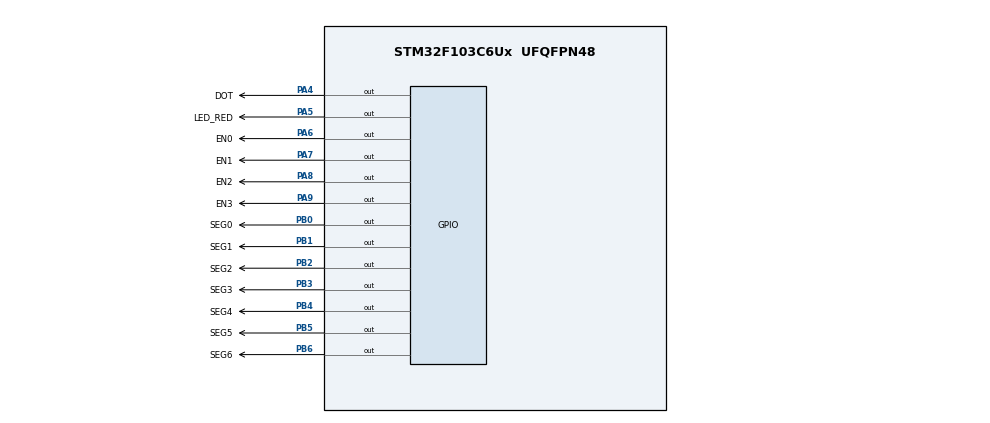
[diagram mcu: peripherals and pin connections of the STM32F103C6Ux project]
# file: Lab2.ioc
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Mcu.Family=STM32F1
Mcu.Name=STM32F103C6Ux
Mcu.Package=UFQFPN48
NVIC.PriorityGroup=NVIC_PRIORITYGROUP_4
NVIC.TIM2_IRQn=true\:0\:0\:false\:false\:true\:true\:true
PA4.GPIO_Label=DOT
PA4.Signal=GPIO_Output
PA5.GPIO_Label=LED_RED
PA5.Signal=GPIO_Output
PA6.GPIO_Label=EN0
PA6.Signal=GPIO_Output
PA7.GPIO_Label=EN1
PA7.Signal=GPIO_Output
PA8.GPIO_Label=EN2
PA8.Signal=GPIO_Output
PA9.GPIO_Label=EN3
PA9.Signal=GPIO_Output
PB0.GPIO_Label=SEG0
PB0.Signal=GPIO_Output
PB1.GPIO_Label=SEG1
PB1.Signal=GPIO_Output
PB2.GPIO_Label=SEG2
PB2.Signal=GPIO_Output
PB3.GPIO_Label=SEG3
PB3.Signal=GPIO_Output
PB4.GPIO_Label=SEG4
PB4.Signal=GPIO_Output
PB5.GPIO_Label=SEG5
PB5.Signal=GPIO_Output
PB6.GPIO_Label=SEG6
PB6.Signal=GPIO_Output
ProjectManager.HeapSize=0x200
ProjectManager.StackSize=0x400
ProjectManager.TargetToolchain=STM32CubeIDE
RCC.APB1Freq_Value=8000000
RCC.APB2Freq_Value=8000000
TIM2.Period=9
TIM2.Prescaler=7999
VP_SYS_VS_ND.Mode=No_Debug
VP_TIM2_VS_ClockSourceINT.Mode=Internal
board=custom

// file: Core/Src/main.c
/* USER CODE BEGIN Header */
/**
 ******************************************************************************
 * @file           : main.c
 * @brief          : Main program body
 ******************************************************************************
 * @attention
 *
 * <h2><center>&copy; Copyright (c) 2025 STMicroelectronics.
 * All rights reserved.</center></h2>
 *
 * This software component is licensed by ST under BSD 3-Clause license,
 * the "License"; You may not use this file except in compliance with the
 * License. You may obtain a copy of the License at:
 *                        opensource.org/licenses/BSD-3-Clause
 *
 ******************************************************************************
 */
/* USER CODE END Header */
#include "main.h"

TIM_HandleTypeDef htim2;

void SystemClock_Config(void);
static void MX_GPIO_Init(void);
static void MX_TIM2_Init(void);
void display7SEG(int num);
void update7SEG(int index);
void updateClockBuffer(void);
/* USER CODE BEGIN PFP */
void display7SEG(int num)
{
    const uint8_t mixi[10] = {0b1000000, 0b1111001, 0b0100100, 0b0110000,
                              0b0011001, 0b0010010, 0b0000010, 0b1111000, 0b0000000, 0b0010000};

    // Ensure num is between 0 and 9
    if (num < 0 || num > 9)
        return;

    // Write each bit of the pattern to the corresponding GPIO pin (PB0 to PB6)
    HAL_GPIO_WritePin(GPIOB, SEG0_Pin, (mixi[num] & (1 << 0)) ? GPIO_PIN_SET : GPIO_PIN_RESET);
    HAL_GPIO_WritePin(GPIOB, SEG1_Pin, (mixi[num] & (1 << 1)) ? GPIO_PIN_SET : GPIO_PIN_RESET);
    HAL_GPIO_WritePin(GPIOB, SEG2_Pin, (mixi[num] & (1 << 2)) ? GPIO_PIN_SET : GPIO_PIN_RESET); // Segment C (PB2)
    HAL_GPIO_WritePin(GPIOB, SEG3_Pin, (mixi[num] & (1 << 3)) ? GPIO_PIN_SET : GPIO_PIN_RESET); // Segment D (PB3)
    HAL_GPIO_WritePin(GPIOB, SEG4_Pin, (mixi[num] & (1 << 4)) ? GPIO_PIN_SET : GPIO_PIN_RESET); // Segment E (PB4)
    HAL_GPIO_WritePin(GPIOB, SEG5_Pin, (mixi[num] & (1 << 5)) ? GPIO_PIN_SET : GPIO_PIN_RESET); // Segment F (PB5)
    HAL_GPIO_WritePin(GPIOB, SEG6_Pin, (mixi[num] & (1 << 6)) ? GPIO_PIN_SET : GPIO_PIN_RESET); // Segment G (PB6)
}
/* USER CODE END PFP */

/* USER CODE BEGIN 0 */
int timer0_counter = 0;
int timer0_flag = 0;
int TIMER_CYCLE = 10;
void setTimer0(int duration)
{
    timer0_counter = duration / TIMER_CYCLE;
    timer0_flag = 0;
}
void timer_run()
{
    if (timer0_counter > 0)
    {
        timer0_counter--;
        if (timer0_counter == 0)
            timer0_flag = 1;
    }
}

int timer1_counter = 0;
int timer1_flag = 0;
void setTimer1(int duration)
{
    timer1_counter = duration / TIMER_CYCLE;
    timer1_flag = 0;
}
void timer_run1()
{
    if (timer1_counter > 0)
    {
        timer1_counter--;
        if (timer1_counter == 0)
            timer1_flag = 1;
    }
}

int timer2_counter = 0;
int timer2_flag = 0;
void setTimer2(int duration)
{
    timer2_counter = duration / TIMER_CYCLE;
    timer2_flag = 0;
}
void timer_run2()
{
    if (timer2_counter > 0)
    {
        timer2_counter--;
        if (timer2_counter == 0)
            timer2_flag = 1;
    }
}

int timer3_counter = 0;
int timer3_flag = 0;
void setTimer3(int duration)
{
    timer3_counter = duration / TIMER_CYCLE;
    timer3_flag = 0;
}
void timer_run3()
{
    if (timer3_counter > 0)
    {
        timer3_counter--;
        if (timer3_counter == 0)
            timer3_flag = 1;
    }
}
const int MAX_LED = 4;
int index_led = 0;
int led_buffer[4] = {1, 5, 0, 8};
int hour = 15, minute = 8, second = 58;

void update7SEG(int index)
{
    HAL_GPIO_WritePin(GPIOA, EN0_Pin | EN1_Pin | EN2_Pin | EN3_Pin, GPIO_PIN_SET);
    switch (index)
    {
    case 0:
        HAL_GPIO_WritePin(GPIOA, EN0_Pin, GPIO_PIN_RESET);
        display7SEG(led_buffer[0]);
        break;
    case 1:
        HAL_GPIO_WritePin(GPIOA, EN1_Pin, GPIO_PIN_RESET);
        display7SEG(led_buffer[1]);
        break;
    case 2:
        HAL_GPIO_WritePin(GPIOA, EN2_Pin, GPIO_PIN_RESET);
        display7SEG(led_buffer[2]);
        break;
    case 3:
        HAL_GPIO_WritePin(GPIOA, EN3_Pin, GPIO_PIN_RESET);
        display7SEG(led_buffer[3]);
        break;
    default:
        break;
    }
}

/*-----------------------------------Exercise 5-----------------------------*/
void updateClockBuffer(void)
{
    int minChuc = minute / 10;
    int minDonVi = minute % 10;
    int hourChuc = hour / 10;
    int hourDonVi = hour % 10;

    led_buffer[0] = hourChuc;
    led_buffer[1] = hourDonVi;
    led_buffer[2] = minChuc;
    led_buffer[3] = minDonVi;
}
/* USER CODE END 0 */

int main(void)
{

    /* MCU Configuration--------------------------------------------------------*/

    /* Reset of all peripherals, Initializes the Flash interface and the Systick. */
    HAL_Init();

    /* Configure the system clock */
    SystemClock_Config();

    /* Initialize all configured peripherals */
    MX_GPIO_Init();
    MX_TIM2_Init();
    /* USER CODE BEGIN 2 */
    HAL_TIM_Base_Start_IT(&htim2);
    /* USER CODE END 2 */

    /* Infinite loop */
    /* USER CODE BEGIN WHILE */
    setTimer0(1000);
    setTimer1(1000);
    setTimer2(250);
    setTimer3(500);
    while (1)
    {
        /* USER CODE END WHILE */
        /*----------------------------Exercise 5------------------------------*/
        //	    second++;
        //	    if (second >= 60){
        //	        second = 0;
        //	        minute++;
        //	    }
        //	    if(minute >= 60){
        //	        minute = 0;
        //	        hour++;
        //	    }
        //	    if(hour >=24){
        //	        hour = 0;
        //	    }
        //	    updateClockBuffer();
        //	    HAL_Delay(1000);

        /*---------------------------Exercise 7----------------------------*/
        if (timer3_flag == 1)
        {
            HAL_GPIO_TogglePin(LED_RED_GPIO_Port, LED_RED_Pin);
            setTimer3(500);
        }
        if (timer0_flag == 1)
        {
            second++;
            if (second >= 60)
            {
                second = 0;
                minute++;
            }
            if (minute >= 60)
            {
                minute = 0;
                hour++;
            }
            if (hour >= 24)
            {
                hour = 0;
            }
            /* USER CODE BEGIN 3 */
            updateClockBuffer();
            setTimer0(1000);
        }
        if (timer1_flag == 1)
        {
            HAL_GPIO_TogglePin(GPIOA, DOT_Pin);
            setTimer1(1000);
        }
\*---------------------------------Exercise 8----------------------------------*\
        if (timer2_flag == 1)
        {
            update7SEG(index_led);
            index_led++;
            if (index_led >= MAX_LED)
            {
                index_led = 0;
            }
            setTimer2(250);
        }
    }
    /* USER CODE END 3 */
}

void SystemClock_Config(void)
{
    RCC_OscInitTypeDef RCC_OscInitStruct = {0};
    RCC_ClkInitTypeDef RCC_ClkInitStruct = {0};

    /** Initializes the RCC Oscillators according to the specified parameters
     * in the RCC_OscInitTypeDef structure.
     */
    RCC_OscInitStruct.OscillatorType = RCC_OSCILLATORTYPE_HSI;
    RCC_OscInitStruct.HSIState = RCC_HSI_ON;
    RCC_OscInitStruct.HSICalibrationValue = RCC_HSICALIBRATION_DEFAULT;
    RCC_OscInitStruct.PLL.PLLState = RCC_PLL_NONE;
    if (HAL_RCC_OscConfig(&RCC_OscInitStruct) != HAL_OK)
    {
        Error_Handler();
    }
    /** Initializes the CPU, AHB and APB buses clocks
     */
    RCC_ClkInitStruct.ClockType = RCC_CLOCKTYPE_HCLK | RCC_CLOCKTYPE_SYSCLK | RCC_CLOCKTYPE_PCLK1 | RCC_CLOCKTYPE_PCLK2;
    RCC_ClkInitStruct.SYSCLKSource = RCC_SYSCLKSOURCE_HSI;
    RCC_ClkInitStruct.AHBCLKDivider = RCC_SYSCLK_DIV1;
    RCC_ClkInitStruct.APB1CLKDivider = RCC_HCLK_DIV1;
    RCC_ClkInitStruct.APB2CLKDivider = RCC_HCLK_DIV1;

    if (HAL_RCC_ClockConfig(&RCC_ClkInitStruct, FLASH_LATENCY_0) != HAL_OK)
    {
        Error_Handler();
    }
}

static void MX_TIM2_Init(void)
{

    TIM_ClockConfigTypeDef sClockSourceConfig = {0};
    TIM_MasterConfigTypeDef sMasterConfig = {0};

    htim2.Instance = TIM2;
    htim2.Init.Prescaler = 7999;
    htim2.Init.CounterMode = TIM_COUNTERMODE_UP;
    htim2.Init.Period = 9;
    htim2.Init.ClockDivision = TIM_CLOCKDIVISION_DIV1;
    htim2.Init.AutoReloadPreload = TIM_AUTORELOAD_PRELOAD_DISABLE;
    if (HAL_TIM_Base_Init(&htim2) != HAL_OK)
    {
        Error_Handler();
    }
    sClockSourceConfig.ClockSource = TIM_CLOCKSOURCE_INTERNAL;
    if (HAL_TIM_ConfigClockSource(&htim2, &sClockSourceConfig) != HAL_OK)
    {
        Error_Handler();
    }
    sMasterConfig.MasterOutputTrigger = TIM_TRGO_RESET;
    sMasterConfig.MasterSlaveMode = TIM_MASTERSLAVEMODE_DISABLE;
    if (HAL_TIMEx_MasterConfigSynchronization(&htim2, &sMasterConfig) != HAL_OK)
    {
        Error_Handler();
    }
}

static void MX_GPIO_Init(void)
{
    GPIO_InitTypeDef GPIO_InitStruct = {0};

    /* GPIO Ports Clock Enable */
    __HAL_RCC_GPIOA_CLK_ENABLE();
    __HAL_RCC_GPIOB_CLK_ENABLE();

    /*Configure GPIO pin Output Level */
    HAL_GPIO_WritePin(GPIOA, DOT_Pin | LED_RED_Pin | EN0_Pin | EN1_Pin | EN2_Pin | EN3_Pin, GPIO_PIN_SET);

    /*Configure GPIO pin Output Level */
    HAL_GPIO_WritePin(GPIOB, SEG0_Pin | SEG1_Pin | SEG2_Pin | SEG3_Pin | SEG4_Pin | SEG5_Pin | SEG6_Pin, GPIO_PIN_SET);

    /*Configure GPIO pins : DOT_Pin LED_RED_Pin EN0_Pin EN1_Pin
                             EN2_Pin EN3_Pin */
    GPIO_InitStruct.Pin = DOT_Pin | LED_RED_Pin | EN0_Pin | EN1_Pin | EN2_Pin | EN3_Pin;
    GPIO_InitStruct.Mode = GPIO_MODE_OUTPUT_PP;
    GPIO_InitStruct.Pull = GPIO_NOPULL;
    GPIO_InitStruct.Speed = GPIO_SPEED_FREQ_LOW;
    HAL_GPIO_Init(GPIOA, &GPIO_InitStruct);

    /*Configure GPIO pins : SEG0_Pin SEG1_Pin SEG2_Pin SEG3_Pin
                             SEG4_Pin SEG5_Pin SEG6_Pin */
    GPIO_InitStruct.Pin = SEG0_Pin | SEG1_Pin | SEG2_Pin | SEG3_Pin | SEG4_Pin | SEG5_Pin | SEG6_Pin;
    GPIO_InitStruct.Mode = GPIO_MODE_OUTPUT_PP;
    GPIO_InitStruct.Pull = GPIO_NOPULL;
    GPIO_InitStruct.Speed = GPIO_SPEED_FREQ_LOW;
    HAL_GPIO_Init(GPIOB, &GPIO_InitStruct);
}

/* USER CODE BEGIN 4 */
// int counter = 100;
void HAL_TIM_PeriodElapsedCallback(TIM_HandleTypeDef *htim)
{
    timer_run();
    timer_run1();
    timer_run2();
    timer_run3();
    /*-------------------------Exercise 1----------------------*/
    //	if(htim->Instance == TIM2){
    //		static uint16_t counter = 0;
    //		static uint8_t state = 0;
    //		static uint16_t dot_toggle = 0;
    //		counter++;
    //
    //		if(counter >= 50){
    //			counter = 0 ;
    //			if(state == 0 ){
    //			HAL_GPIO_WritePin(GPIOA, EN0_Pin, GPIO_PIN_RESET);
    //			HAL_GPIO_WritePin(GPIOA, EN1_Pin, GPIO_PIN_SET);
    //
    //			display7SEG(1);
    //			state = 1;
    //			}
    //			else{
    //				HAL_GPIO_WritePin(GPIOA, EN0_Pin, GPIO_PIN_SET);
    //				HAL_GPIO_WritePin(GPIOA, EN1_Pin, GPIO_PIN_RESET);
    //
    //				display7SEG(2);
    //				state = 0;
    //			}
    //		}
    //	if(counter1 >= 100){
    //		counter1 = 0;
    //		HAL_GPIO_TogglePin(GPIOA,LED_RED_Pin);
    //		counter1++;
    //	 }
    //   }
    /*------------------------Exercise 2--------------------------*/
    //	if(htim->Instance == TIM2){
    //		static uint16_t counter = 0;
    //		static uint16_t dot_counter = 0;
    //		static uint8_t state = 0;
    //		counter++;
    //		dot_counter++;
    //
    //		if(dot_counter >= 100){
    //			HAL_GPIO_TogglePin(GPIOA, DOT_Pin);
    //			HAL_GPIO_TogglePin(GPIOA,LED_RED_Pin);
    //			dot_counter = 0;
    //		}
    //
    //		if(counter >= 50){
    //			counter = 0;
    //			HAL_GPIO_WritePin(GPIOA, EN0_Pin|EN1_Pin|EN2_Pin|EN3_Pin, GPIO_PIN_SET);
    //
    //			switch(state){
    //			case 0:
    //				HAL_GPIO_WritePin(GPIOA, EN0_Pin, GPIO_PIN_RESET);
    //				display7SEG(1);
    //				break;
    //
    //			case 1:
    //				HAL_GPIO_WritePin(GPIOA, EN1_Pin, GPIO_PIN_RESET);
    //				display7SEG(2);
    //				break;
    //
    //			case 2:
    //				HAL_GPIO_WritePin(GPIOA, EN2_Pin, GPIO_PIN_RESET);
    //				display7SEG(3);
    //				break;
    //
    //			case 3:
    //				HAL_GPIO_WritePin(GPIOA, EN3_Pin, GPIO_PIN_RESET);
    //				display7SEG(0);
    //				break;
    //			}
    //			state = (state + 1) % 4; //switch to the next 7seg
    //		}
    //	}
    /*-----------------------------Exercise 3---------------------------*/
    //	if(htim->Instance == TIM2){
    //		static uint16_t dot_counter = 0;
    //		update7SEG(index_led);
    //		index_led++;
    //		if(index_led >= MAX_LED){
    //			index_led = 0;1
    //		}
    //
    //		dot_counter++;
    //		if(dot_counter >= 100){
    //			HAL_GPIO_TogglePin(GPIOA, DOT_Pin);
    //			HAL_GPIO_TogglePin(GPIOA,LED_RED_Pin);
    //			dot_counter = 0;
    //		}
    //	}
    /*----------------------------Exercise 4-----------------------------*/
    //	if (htim->Instance == TIM2){
    //	    static uint16_t dot_counter = 0;
    //	    static uint16_t led_counter = 0;
    //
    //	    led_counter++;
    //	    if (led_counter >= 25){
    //	        update7SEG(index_led++);
    //	        if (index_led >= MAX_LED){
    //	            index_led = 0;
    //	        }
    //	        led_counter = 0;
    //	    }
    //
    //	    dot_counter++;
    //	    if (dot_counter >= 100){
    //	        HAL_GPIO_TogglePin(GPIOA, DOT_Pin);
    //	    	HAL_GPIO_TogglePin(GPIOA, LED_RED_Pin);
    //	        dot_counter = 0;
    //	    }
    //	}
    /*----------------------------------------------------------------------*/

    //	if(htim->Instance == TIM2){
    //		static uint16_t counter = 0;
    //		counter++;
    //		if(counter >= 100){
    //			HAL_GPIO_TogglePin(GPIOA, LED_RED_Pin);
    //			counter = 0;
    //		}
    //	}
}
/* USER CODE END 4 */

void Error_Handler(void)
{
    __disable_irq();
    while (1)
    {
    }
}

/************************ (C) COPYRIGHT STMicroelectronics *****END OF FILE****/
